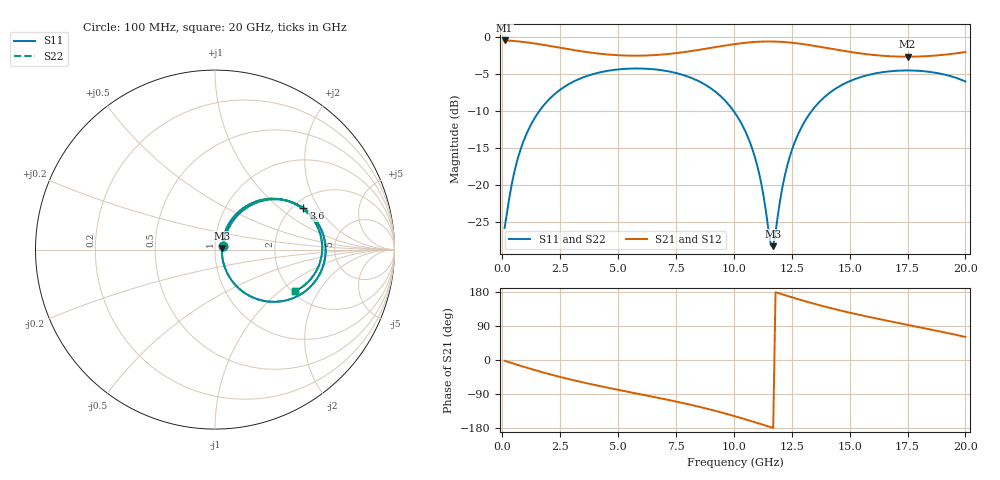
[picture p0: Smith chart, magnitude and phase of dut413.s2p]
! Touchstone file exported from HFSS 2026.1.0
!  File:  C:/ffzhzh/LocalFiles/Ansys_Project_Files/temp_train_TSV_RDL_413_1783094429_37876.aedt
!  Generated:  12:19:37 AM Jul  4, 2026
!  Design:  TSV_RDL
!  Project:  temp_train_TSV_RDL_413_1783094429_37876
! Variables:
!  h_bsmrdl = 2.22um
!  h_ox = 20um
!  h_rdl = 5um
!  h_sub = 92.48um
!  h_tmrdl = 5.99um
!  h_tsv = 92.48um
!  h_via = 3um
!  l_bsmrdl = 950.18um
!  l_sub = 5065.79um
!  l_tmrdl = 432.07um
!  m_sub = 200um
!  pitch = 42.41um
!  r_tsv = 2.21um
!  s_tmrdl = 10um
!  w_bsmrdl = 17.73um
!  w_sub = 500um
!  w_tmrdl = 11.26um
!  x_tsv_center1 = 437.7um
!  x_tsv_center2 = 1405.61um
!  x_tsv_center3 = 1848.94um
!  x_tsv_center4 = 2816.85um
!  x_tsv_center5 = 3260.18um
!  x_tsv_center6 = 4228.09um
# GHz S MA R 50.000000
! Terminal data exported
! Port[1] = TM_RDL1_1_T1
! Port[2] = TM_RDL5_1_T1
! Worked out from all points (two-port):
!   200 points, 100 MHz to 20 GHz, reference 50 ohm
!   highest |S21| = -0.41 dB at 100 MHz (marker M1); lowest = -2.6 dB at 17.5 GHz (marker M2)
!   |S21| within 3 dB of the highest: start of sweep to end of sweep
!   lowest |S11| = -28.2 dB at 11.7 GHz (marker M3), VSWR 1.08, Z = 53.9 + j0.907 ohm
!   |S11| at or under -10 dB: start of sweep to 1.589 GHz; 10 GHz to 13.35 GHz (3.35 GHz wide, 28.7 % of centre)
!   |S22| runs from -28.2 to -4.2 dB; largest |S21 - S12| = 1.7e-14
!   S11 on the Smith chart (normalised r, x): 100 MHz: 1.10, +0.05; 3.6 GHz: 2.26, +1.49; 20 GHz: 2.08, -1.29
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0.1  0.05156 23.9  0.9534 -2.0  0.9534 -2.0  0.05156 23.9
! Gamma 0 0 0 0
! Port Impedance 50 0 50 0
0.6  0.1385 57.5  0.9425 -11.8  0.9425 -11.8  0.1385 57.5
1.2  0.2505 55.6  0.9194 -22.9  0.9194 -22.9  0.2504 55.6
2.2  0.4056 43.3  0.8674 -40.0  0.8674 -40.0  0.4056 43.3
3.5  0.5373 26.4  0.8016 -59.3  0.8016 -59.3  0.5373 26.4
3.6  0.5444 25.2  0.7974 -60.7  0.7974 -60.7  0.5444 25.2
5.2  0.6113 6.3  0.755 -81.1  0.755 -81.1  0.6113 6.3
6.8  0.6024 -12.0  0.7632 -100.6  0.7632 -100.6  0.6024 -11.9
8.7  0.4853 -35.7  0.8337 -126.4  0.8337 -126.4  0.4853 -35.7
10.1  0.3002 -55.0  0.9038 -149.3  0.9038 -149.3  0.3001 -55.0
10.9  0.1568 -62.5  0.9314 -164.0  0.9314 -164.0  0.1568 -62.4
11.2  0.1 -59.8  0.9367 -169.7  0.9367 -169.7  0.1 -59.6
11.6  0.03934 -15.9  0.9384 -177.4  0.9384 -177.4  0.03952 -15.8
11.7  0.0388 12.5  0.9379 -179.3  0.9379 -179.3  0.039 12.5
12.1  0.09759 58.7  0.9319 173.1  0.9319 173.1  0.0977 58.6
12.4  0.1534 61.8  0.9237 167.4  0.9237 167.4  0.1535 61.7
13.4  0.3238 52.1  0.88 149.6  0.88 149.6  0.3238 52.1
14.8  0.4891 33.5  0.8074 127.7  0.8074 127.7  0.4891 33.5
16.7  0.589 10.8  0.7463 102.8  0.7463 102.8  0.5891 10.8
17.5  0.5978 1.8  0.7402 93.0  0.7402 93.0  0.5978 1.8
18.7  0.5772 -11.8  0.7536 78.2  0.7536 78.2  0.5772 -11.8
20  0.5037 -27.3  0.7958 60.7  0.7958 60.7  0.5038 -27.3
